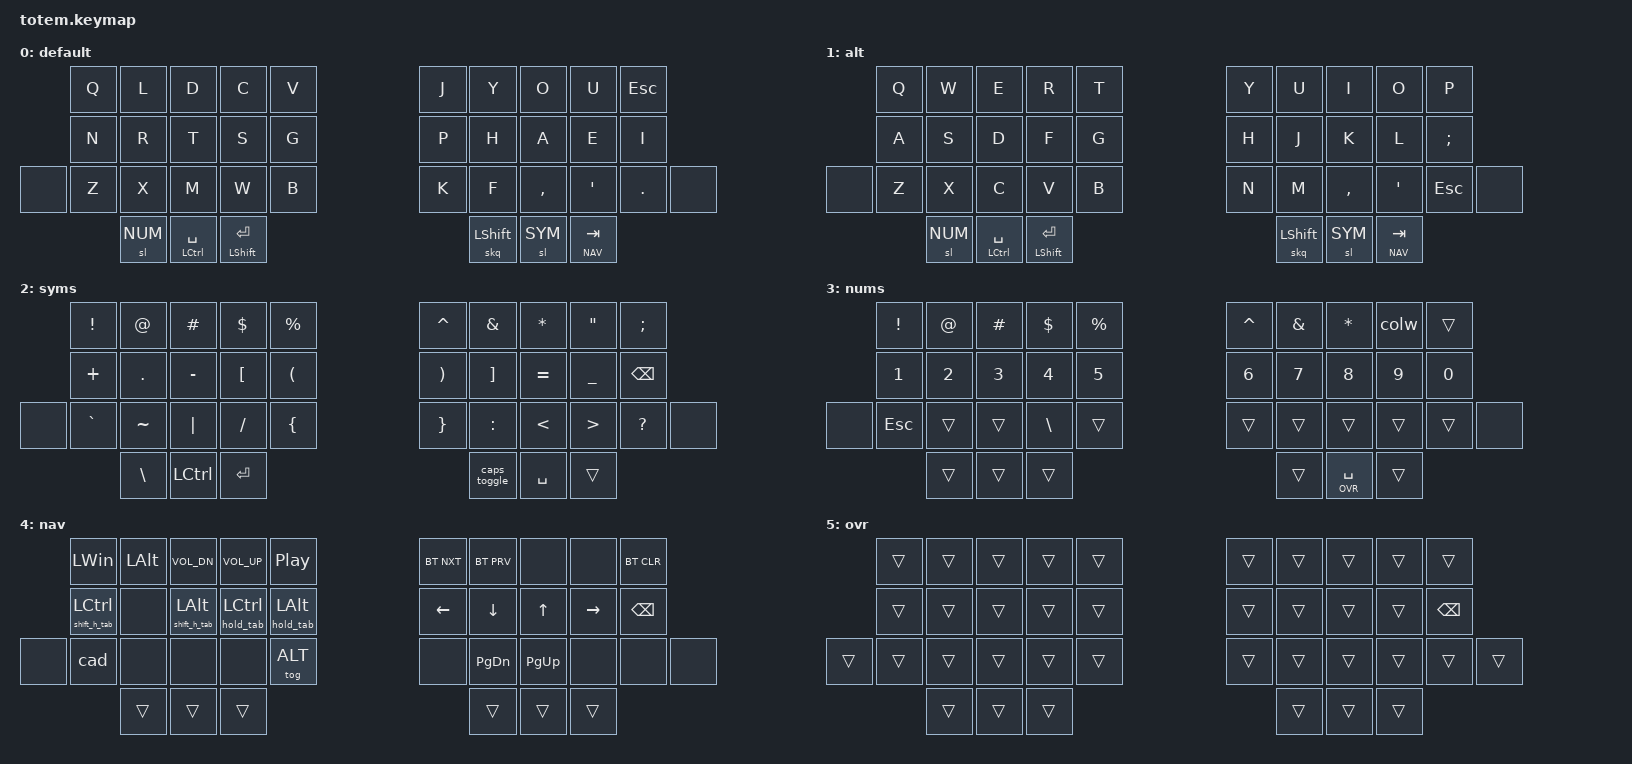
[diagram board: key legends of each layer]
#include <behaviors.dtsi>
#include <dt-bindings/zmk/keys.h>
#include <dt-bindings/zmk/bt.h>
#include <dt-bindings/zmk/mouse.h>
#include <dt-bindings/zmk/outputs.h>

#define ALT   1
#define SYM   2
#define NUM   3
#define NAV   4
#define OVR   5
&mt {
    flavor = "tap-preferred";
	tapping-term-ms = <200>;
	quick-tap-ms = <200>;
    require-prior-idle-ms = <125>;
};
&sl {
    release-after-ms = <200>;
};
&caps_word {
    continue-list = <UNDERSCORE MINUS BACKSPACE K_CANCEL>;
};

/ {
     macros {
        hold_tab: hold_tab {
            compatible = "zmk,behavior-macro-one-param";
            #binding-cells = <1>;
            bindings
                = <&macro_param_1to1>
                , <&macro_press &kp MACRO_PLACEHOLDER>
                , <&macro_tap &kp TAB>
                , <&macro_pause_for_release>
                , <&macro_param_1to1>
                , <&macro_release &kp MACRO_PLACEHOLDER>
                ;
        };
        shift_h_tab: shift_h_tab {
            compatible = "zmk,behavior-macro-one-param";
            #binding-cells = <1>;
            bindings
                = <&macro_param_1to1>
                , <&macro_press &kp MACRO_PLACEHOLDER>
                , <&macro_press &kp LSHIFT>
                , <&macro_tap &kp TAB>
                , <&macro_pause_for_release>
                , <&macro_release &kp LSHIFT>
                , <&macro_param_1to1>
                , <&macro_release &kp MACRO_PLACEHOLDER>
                ;
        };
        caps_toggle: caps_toggle {
            compatible = "zmk,behavior-macro";
            #binding-cells = <0>;
            bindings
                = <&macro_tap &caps_word>
                , <&macro_tap &kp K_CANCEL>
                ;
        };
        cad: cad {
            compatible = "zmk,behavior-macro";
            #binding-cells = <0>;
            bindings
                = <&macro_press &kp LCTRL>
                , <&macro_press &kp LALT>
                , <&macro_tap &kp DELETE>
                , <&macro_release &kp LCTRL>
                , <&macro_release &kp LALT>
                ;
        };
        colw: colw {
            compatible = "zmk,behavior-macro";
            #binding-cells = <0>;
            bindings
                = <&macro_tap &kp ESC>
                , <&macro_tap &kp COLON>
                , <&macro_tap &kp W>
                , <&macro_tap &kp ENTER>
                ;
        };
    };
      behaviors {
        skq: sticky_key_quick_release {
          compatible = "zmk,behavior-sticky-key";
          label = "STICKY_KEY_QUICK_RELEASE";
          #binding-cells = <1>;
          bindings = <&kp>;
          release-after-ms = <1000>;
          quick-release;
        };
    };


        keymap {
                compatible = "zmk,keymap";
		   base {
            bindings = <
            &kp Q  &kp L  &kp D   &kp C   &kp V                  &kp J    &kp Y   &kp O      &kp U    &kp ESC
            &kp N  &kp R  &kp T   &kp S   &kp G                  &kp P    &kp H   &kp A      &kp E    &kp I  
&none       &kp Z  &kp X  &kp M   &kp W   &kp B                  &kp K    &kp F   &kp COMMA  &kp SQT  &kp DOT   &none
                      &sl NUM  &mt LCTRL SPACE  &mt LSHIFT ENTER          &skq LSHIFT  &sl SYM  &lt NAV TAB
            >;
            display-name = "default";
        };

        alt {
            bindings = <
            &kp Q  &kp W  &kp E   &kp R   &kp T                  &kp Y    &kp U   &kp I      &kp O    &kp P   
            &kp A  &kp S  &kp D   &kp F   &kp G                  &kp H    &kp J   &kp K      &kp L    &kp SEMI
&none       &kp Z  &kp X  &kp C   &kp V   &kp B                  &kp N    &kp M   &kp COMMA  &kp SQT  &kp ESC   &none
                      &sl NUM  &mt LCTRL SPACE  &mt LSHIFT ENTER          &skq LSHIFT  &sl SYM  &lt NAV TAB
            >;
            display-name = "alt";
        };

        syms {
            bindings = <
        &kp EXCL     &kp AT         &kp HASH       &kp DOLLAR    &kp PERCENT                  &kp CARET                  &kp AMPERSAND          &kp ASTRK            &kp DQT               &kp SEMI 
        &kp PLUS     &kp DOT        &kp MINUS      &kp LBKT      &kp LEFT_PARENTHESIS         &kp RIGHT_PARENTHESIS      &kp RBKT               &kp EQUAL            &kp UNDER             &kp BSPC 
&none   &kp GRAVE    &kp TILDE      &kp PIPE       &kp FSLH      &kp LBRC                     &kp RBRC                   &kp COLON              &kp LT               &kp GT                &kp QMARK            &none
                                       &kp BSLH       &kp LCTRL     &kp ENTER                    &caps_toggle               &kp SPACE           &trans
            >;
            display-name = "syms";
        };

        nums {
            bindings = <
           &kp EXCL  &kp AT  &kp HASH    &kp DOLLAR   &kp PERCENT       &kp CARET      &kp AMPERSAND  &kp ASTRK  &colw   &trans
           &kp N1    &kp N2  &kp N3      &kp N4       &kp N5            &kp N6         &kp N7         &kp N8     &kp N9  &kp N0
&none      &kp ESC   &trans  &trans      &kp BSLH     &trans            &trans         &trans         &trans     &trans  &trans  &none
                                 &trans  &trans       &trans            &trans         &lt OVR SPACE         &trans
            >;
            display-name = "nums";
        };

        nav {
            bindings = <
        &kp LEFT_WIN          &kp LALT      &kp C_VOL_DN       &kp C_VOL_UP     &kp C_PLAY_PAUSE   &bt BT_NXT &bt BT_PRV   &none     &none        &bt BT_CLR
        &shift_h_tab LCTRL    &none         &shift_h_tab LALT  &hold_tab LCTRL  &hold_tab LALT     &kp LEFT   &kp DOWN     &kp UP    &kp RIGHT    &kp BSPC  
&none   &cad                  &none         &none              &none            &tog ALT           &none      &kp PG_DN  &kp PG_UP   &none        &none       &none
                                            &trans             &trans           &trans             &trans     &trans       &trans
            >;
            display-name = "nav";
        };
        override {
            bindings = <
        &trans  &trans  &trans  &trans     &trans          &trans  &trans  &trans  &trans  &trans  
        &trans  &trans  &trans  &trans     &trans          &trans  &trans  &trans  &trans  &kp BSPC
&trans  &trans  &trans  &trans  &trans     &trans          &trans  &trans  &trans  &trans  &trans    &trans
                        &trans  &trans     &trans          &trans  &trans  &trans
            >;
            display-name = "ovr";
        };
  };
};
